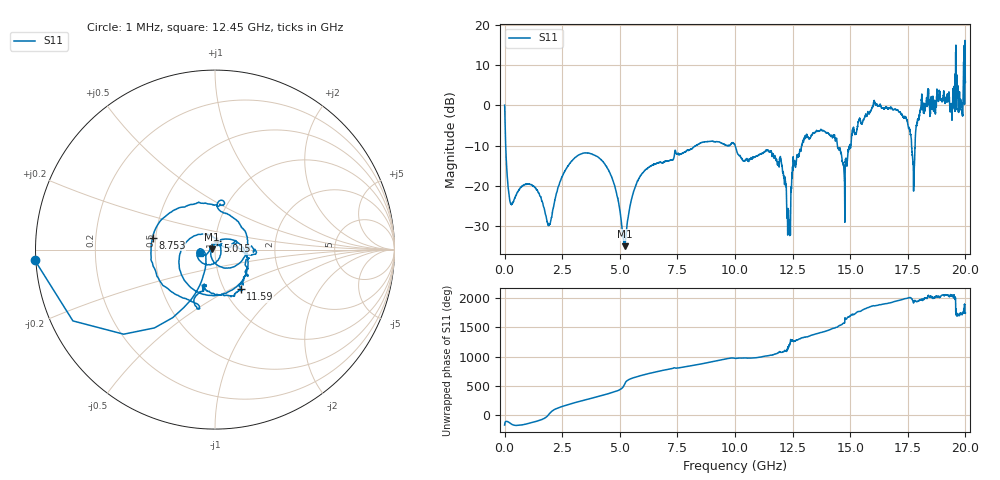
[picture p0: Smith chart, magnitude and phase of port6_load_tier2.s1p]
! Created with skrf 1.8.0 (http://scikit-rf.org).
# GHz S RI R 50.0
!freq ReS11 ImS11
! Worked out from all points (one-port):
!   10001 points, 1 MHz to 20 GHz, reference 50 ohm
!   lowest |S11| = -34.9 dB at 5.221 GHz (marker M1), VSWR 1.04, Z = 48.2 + j0.214 ohm
!   |S11| at or under -10 dB: 48.27 MHz to 8.301 GHz (8.253 GHz wide, 198 % of centre); 10.01 GHz to 12.89 GHz (2.881 GHz wide, 25.2 % of centre); 14.45 GHz to 14.98 GHz (537.7 MHz wide, 3.65 % of centre) (the widest 3 of 7)
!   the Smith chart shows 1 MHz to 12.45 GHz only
!   S11 on the Smith chart (normalised r, x): 1 MHz: -0.00, -0.03; 5.015 GHz: 1.02, +0.09; 8.753 GHz: 0.48, +0.07; 11.59 GHz: 1.19, -0.56; 12.45 GHz: 0.83, -0.04
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0.001  -1.003 -0.0603
0.2989851  -0.0556 -0.0204
1.930904  0.0326 0.0066
2.500875  -0.104 0.0798
4.0008  0.1436 -0.1839
5.00075  0.0175 0.0473
5.014749  0.0138 0.0459
5.220739  -0.0178 0.00222
5.890706  0.0859 -0.1019
7.500625  0.0299 0.2482
8.752562  -0.3473 0.0673
10.0005  -0.1134 -0.3023
11.59042  0.1426 -0.2182
12.44638  -0.0934 -0.0249
12.50038  -0.163 -0.0269
13.89431  0.4665 -0.0893
14.47228  0.0733 0.2832
15.00025  -0.1036 -0.2939
15.61222  0.671 0.1682
16.10019  0.3112 0.9714
16.98415  -0.7647 0.4374
17.50013  -0.5397 -0.2109
17.9361  -0.551 0.3564
18.45008  -0.6433 -0.5376
19.47603  -0.8328 -0.7449
19.68602  -0.032 -1.175
19.87801  0.4022 -0.6456
20  1.084 -1.619
